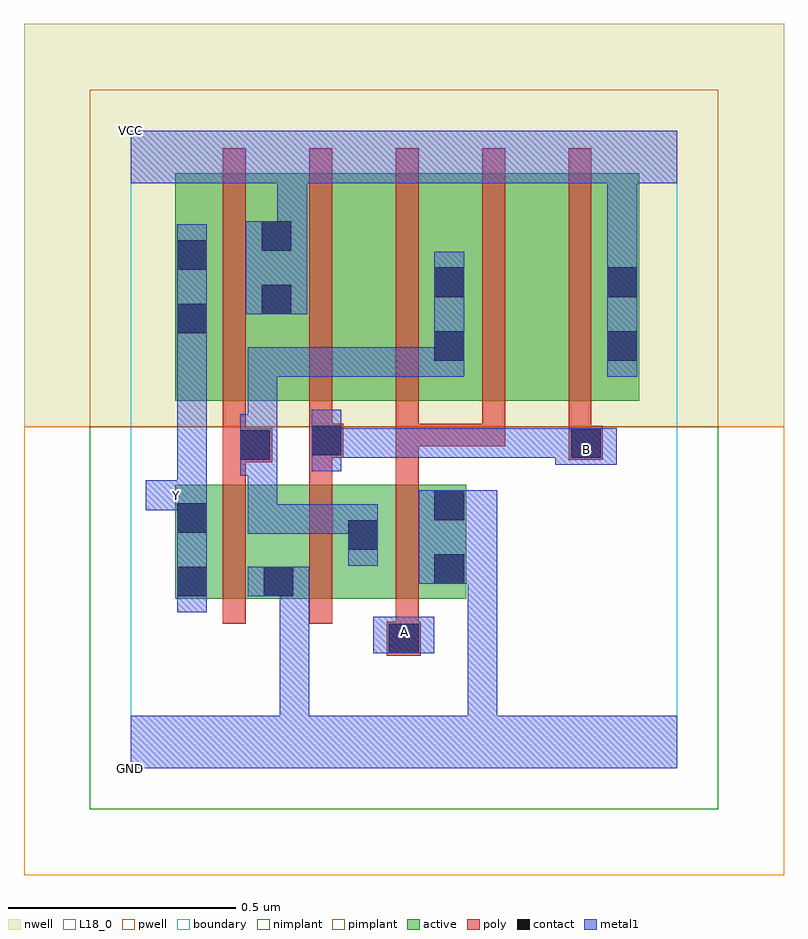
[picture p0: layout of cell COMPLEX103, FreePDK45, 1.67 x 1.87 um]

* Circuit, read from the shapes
.subckt COMPLEX103 A B GND VCC Y
M1 GND n1 Y VSUBS nfet w=0.25u l=0.05u
M2 n1 B GND VSUBS nfet w=0.25u l=0.05u
M3 GND A n1 VSUBS nfet w=0.25u l=0.05u
M4 VCC n1 Y n2 pfet w=0.5u l=0.05u
M5 n3 B VCC n2 pfet w=0.5u l=0.05u
M6 n1 A n3 n2 pfet w=0.5u l=0.05u
M7 n4 A n1 n2 pfet w=0.5u l=0.05u
M8 VCC B n4 n2 pfet w=0.5u l=0.05u
.ends

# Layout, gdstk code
import gdstk
lib = gdstk.Library(unit=1e-6, precision=1e-09)
def R(c, l, rs):  # rectangles x0, y0, x1, y1
    for r in rs: c.add(gdstk.rectangle(r[:2], r[2:], *l))
def A(c, l, x, y, w, h, nx, ny, dx, dy):  # array of equal rectangles
    R(c, l, [(x+i*dx, y+j*dy, x+i*dx+w, y+j*dy+h) for i in range(nx) for j in range(ny)])
active = (1, 0)
pwell = (2, 0)
nwell = (3, 0)
nimplant = (4, 0)
pimplant = (5, 0)
poly = (9, 0)
contact = (10, 0)
metal1 = (11, 0)
L18_0 = (18, 0)
boundary = (235, 0)

complex103 = lib.new_cell('COMPLEX103')
R(complex103, active, [(0.097,0.372,0.172,0.622), (0.097,0.372,0.362,0.622), (0.287,0.372,0.547,0.622), (0.287,0.372,0.362,0.497), (0.472,0.372,0.737,0.622), (0.662,0.372,0.737,0.622), (0.472,0.407,0.547,0.622), (0.097,0.807,0.172,1.2), (0.097,0.807,0.357,1.307), (0.282,0.807,0.357,1.305), (0.282,0.807,0.512,1.307), (0.512,0.807,0.737,1.307), (0.662,0.807,0.892,1.307), (0.662,0.807,0.737,1.2), (0.892,0.807,1.117,1.307), (1.042,0.807,1.117,1.305)])
R(complex103, pwell, [(-0.235,-0.235,1.435,0.75)])
R(complex103, nwell, [(-0.235,0.75,1.435,1.635)])
R(complex103, nimplant, [(-0.09,-0.09,1.29,0.75)])
R(complex103, pimplant, [(-0.09,0.75,1.29,1.49)])
A(complex103, poly, 0.202, 0.317, 0.05, 0.36, 3, 1, 0.19, 0)
A(complex103, poly, 0.392, 0.707, 0.05, 0.095, 3, 1, 0.19, 0)
A(complex103, poly, 0.202, 0.752, 0.05, 0.61, 5, 1, 0.19, 0)
R(complex103, poly, [(0.562,0.247,0.637,0.322), (0.582,0.272,0.632,0.367), (0.202,0.627,0.252,0.722), (0.392,0.627,0.442,0.732), (0.582,0.627,0.632,0.757), (0.202,0.672,0.31,0.747), (0.962,0.677,1.037,0.752), (0.392,0.682,0.467,0.757), (0.202,0.697,0.252,0.802), (0.962,0.702,1.012,0.802), (0.582,0.707,0.632,0.757), (0.582,0.707,0.822,0.757), (0.772,0.707,0.822,0.757), (0.772,0.707,0.822,0.757), (0.772,0.707,0.822,0.757)])
R(complex103, contact, [(0.567,0.252,0.632,0.317), (0.102,0.377,0.167,0.442), (0.292,0.377,0.357,0.442), (0.667,0.405,0.732,0.47), (0.477,0.48,0.542,0.545), (0.102,0.517,0.167,0.582), (0.667,0.545,0.732,0.61), (0.24,0.677,0.305,0.742), (0.967,0.682,1.032,0.747), (0.397,0.687,0.462,0.752), (0.667,0.895,0.732,0.96), (1.047,0.895,1.112,0.96), (0.102,0.955,0.167,1.02), (0.287,0.997,0.352,1.062), (0.667,1.035,0.732,1.1), (1.047,1.035,1.112,1.1), (0.102,1.095,0.167,1.16), (0.287,1.137,0.352,1.202)])
R(complex103, metal1, [(0,0,1.2,0.115), (0.327,0.05,0.392,0.115), (0.327,0.05,0.392,0.115), (0.327,0.05,0.392,0.115), (0.327,0.05,0.392,0.115), (0.327,0.05,0.392,0.115), (0.327,0.05,0.392,0.115), (0.327,0.05,0.392,0.442), (0.74,0.05,0.805,0.47), (0.532,0.252,0.667,0.332), (0.102,0.342,0.167,0.617), (0.257,0.377,0.392,0.442), (0.632,0.405,0.805,0.61), (0.74,0.405,0.805,0.47), (0.74,0.405,0.805,0.47), (0.74,0.405,0.805,0.47), (0.74,0.405,0.805,0.47), (0.74,0.405,0.805,0.47), (0.74,0.405,0.805,0.47), (0.477,0.445,0.542,0.58), (0.257,0.515,0.322,0.58), (0.257,0.515,0.46,0.58), (0.257,0.515,0.322,0.777), (0.395,0.515,0.46,0.58), (0.395,0.515,0.542,0.58), (0.102,0.552,0.167,0.632), (0.032,0.567,0.167,0.632), (0.102,0.567,0.167,0.985), (0.24,0.642,0.305,0.777), (0.397,0.652,0.462,0.787), (0.932,0.667,1.067,0.747), (0.397,0.682,0.462,0.747), (0.397,0.682,0.462,0.747), (0.397,0.682,0.6,0.747), (0.535,0.682,0.6,0.747), (0.535,0.682,0.6,0.747), (0.535,0.682,0.6,0.747), (0.535,0.682,0.86,0.747), (0.795,0.682,0.997,0.747), (0.795,0.682,0.86,0.747), (0.795,0.682,0.86,0.747), (0.795,0.682,0.86,0.747), (0.24,0.712,0.322,0.777), (0.257,0.712,0.322,0.777), (0.257,0.712,0.322,0.925), (0.257,0.86,0.322,0.925), (0.257,0.86,0.46,0.925), (0.395,0.86,0.46,0.925), (0.395,0.86,0.46,0.925), (0.395,0.86,0.46,0.925), (0.395,0.86,0.722,0.925), (0.657,0.86,0.722,0.925), (0.657,0.86,0.732,0.925), (0.667,0.86,0.732,1.135), (1.047,0.86,1.112,1.135), (0.102,0.92,0.167,1.195), (0.252,0.997,0.387,1.202), (1.047,1.07,1.112,1.35), (0.322,1.137,0.387,1.35), (0,1.285,1.2,1.4)])
R(complex103, L18_0, [(0,0,1.2,0.115), (0.327,0.05,0.392,0.115), (0.327,0.05,0.392,0.115), (0.327,0.05,0.392,0.115), (0.327,0.05,0.392,0.115), (0.327,0.05,0.392,0.115), (0.327,0.05,0.392,0.115), (0.327,0.05,0.392,0.442), (0.74,0.05,0.805,0.47), (0.532,0.252,0.667,0.332), (0.567,0.267,0.632,0.332), (0.102,0.342,0.167,0.617), (0.257,0.377,0.392,0.442), (0.632,0.405,0.805,0.61), (0.74,0.405,0.805,0.47), (0.74,0.405,0.805,0.47), (0.74,0.405,0.805,0.47), (0.74,0.405,0.805,0.47), (0.74,0.405,0.805,0.47), (0.74,0.405,0.805,0.47), (0.102,0.552,0.167,0.632), (0.032,0.567,0.167,0.632), (0.067,0.567,0.132,0.632), (0.102,0.567,0.167,0.985), (0.397,0.652,0.462,0.787), (0.932,0.667,1.067,0.747), (0.967,0.667,1.032,0.732), (0.397,0.682,0.462,0.747), (0.397,0.682,0.462,0.747), (0.397,0.682,0.6,0.747), (0.535,0.682,0.6,0.747), (0.535,0.682,0.6,0.747), (0.535,0.682,0.6,0.747), (0.535,0.682,0.86,0.747), (0.795,0.682,0.86,0.747), (0.795,0.682,0.86,0.747), (0.795,0.682,0.86,0.747), (0.795,0.682,0.997,0.747), (1.047,0.86,1.112,1.135), (0.102,0.92,0.167,1.195), (0.252,0.997,0.387,1.202), (1.047,1.07,1.112,1.35), (0.322,1.137,0.387,1.35), (0,1.285,1.2,1.4)])
R(complex103, boundary, [(0,0,1.2,1.4)])
complex103.add(gdstk.Label('A', (0.6,0.3), layer=11, texttype=0))
complex103.add(gdstk.Label('B', (1,0.7), layer=11, texttype=0))
complex103.add(gdstk.Label('Y', (0.1,0.6), layer=11, texttype=0))
complex103.add(gdstk.Label('VCC', (0,1.4), layer=11, texttype=0))
complex103.add(gdstk.Label('GND', (0,0), layer=11, texttype=0))

lib.write_gds('COMPLEX103.gds')
